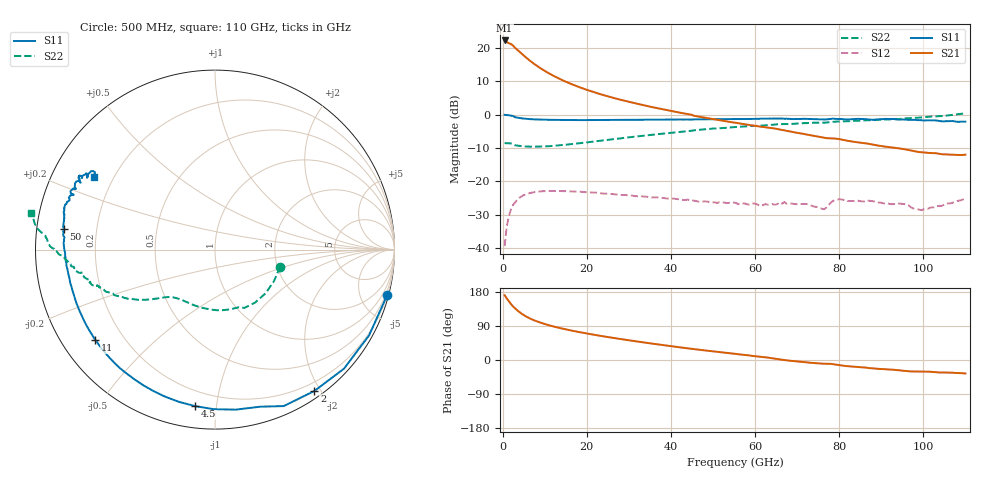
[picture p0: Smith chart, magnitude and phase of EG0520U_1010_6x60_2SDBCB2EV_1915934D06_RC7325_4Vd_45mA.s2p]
!File name = EG0520U_1010_6x60_2SDBCB2EV_1915934D06_RC7325_4Vd_45mA.s2p
!Base file name = EG0520U_1010_6x60_2SDBCB2EV_1915934D06_RC7325
!Date = 8/23/2019
!Time = 1:11 PM
!Test duration(min) = 0.15
!Test = S-Parameters
!MPTS version = 8.91.5
!State File = C:\Data\PNA\20190821205423\S-Parameters_2019-08-23.sta
!Cal File =
!ComputerName = CMPE-LAB-6
!Comments =
!Attenuation = 0
!Z0 = 50
!Input Power(dBm) = -13.00
!Device ID = EG0520U_1010_6x60_2SDBCB2EV
!Row = 73
!Column = 25
!Technology = QPHT09
!Lot/Wafer = 1915934D06
!Gate Size = 360
!Mask = EG0520
!Cal Standards = GaAs BCB
!Cal Kit = EG2306
!Job Number = 20190821205423
!Device Type = FET
!set_Vg(v) = -1.500
!set_Vd(v) = 4.000
!set_Vd(mA) = 45.000
!file_name = EG0520U_1010_6x60_2SDBCB2EV_1915934D06_RC7325_4Vd_45mA.s2p
!Vd(V) = 4.000
!Vd(mA) = 45.199
!Vg(V) = -0.523
!Vg(mA) = -0.004
# GHz  S  DB  R  50
!%	Freq(GHz)  s11(dB)  s11(deg)  s21(dB)  s21(deg)  s12(dB)  s12(deg)  s22(dB)  s22(deg)
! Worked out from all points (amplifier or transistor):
!   220 points, 500 MHz to 110 GHz, reference 50 ohm
!   highest |S21| = 22.1 dB at 500 MHz (marker M1)
!   |S21| within 3 dB of that: start of sweep to 3.696 GHz
!   unconditionally stable (mu >= 1): 31.68 GHz to 102.9 GHz
!   at 18.5 GHz: K = 0.56, MSG = 15.6 dB, |S12| = -23.1 dB
!   at 55.5 GHz: K = 1.59, MAG = 7.5 dB, |S12| = -26.4 dB
!   at 110 GHz: K = -2.04, MSG = 6.6 dB, |S12| = -25.2 dB
!   S11 on the Smith chart (normalised r, x): 500 MHz: 0.23, -7.72; 2 GHz: 0.09, -1.92; 4.5 GHz: 0.11, -0.87; 11 GHz: 0.10, -0.33; 50 GHz: 0.08, +0.07; 110 GHz: 0.13, +0.27
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0.5  -0.07 -14.7  22.15 171.0  -39.34 81.0  -8.51 -14.7
1  -0.15 -29.1  21.71 162.5  -33.56 73.5  -8.58 -27.9
2  -0.33 -54.9  21.08 147.8  -28.41 59.5  -8.63 -53.1
2.5  -0.42 -66.3  20.62 141.3  -27.02 53.7  -8.78 -63.3
3  -0.81 -73.9  19.94 136.1  -26.22 49.3  -9.18 -67.3
3.5  -0.93 -82.7  19.37 131.1  -25.46 44.9  -9.28 -75.1
4.5  -1.12 -97.3  18.24 122.5  -24.47 37.5  -9.42 -88.1
5.5  -1.26 -108.8  17.15 115.4  -23.86 31.9  -9.55 -98.1
7  -1.40 -122.0  15.63 107.1  -23.34 25.4  -9.60 -108.9
9  -1.50 -134.1  13.86 98.7  -22.96 19.4  -9.58 -117.7
11  -1.56 -143.0  12.34 91.8  -22.84 14.8  -9.46 -124.0
14.5  -1.63 -153.6  10.12 82.1  -22.88 9.4  -9.07 -130.7
19  -1.66 -162.3  7.85 72.0  -23.12 4.9  -8.45 -135.5
26.5  -1.63 -171.5  4.93 58.0  -23.79 1.2  -7.32 -140.5
37  -1.53 -179.5  1.85 41.0  -24.77 0.8  -5.83 -146.8
50  -1.40 172.3  -1.38 22.9  -26.21 4.3  -4.19 -155.8
55.5  -1.34 169.0  -2.48 16.0  -26.42 5.2  -3.70 -159.2
73.5  -1.35 159.3  -6.28 -7.6  -27.31 1.3  -2.43 -169.1
80  -1.36 156.6  -7.32 -13.8  -25.31 6.2  -2.08 -171.8
92  -1.34 151.3  -9.75 -25.1  -26.71 -11.3  -1.44 -177.4
99.5  -1.68 149.8  -11.24 -30.3  -28.56 -11.4  -0.84 179.4
110  -2.13 149.1  -11.99 -35.6  -25.20 -8.9  0.37 168.6
